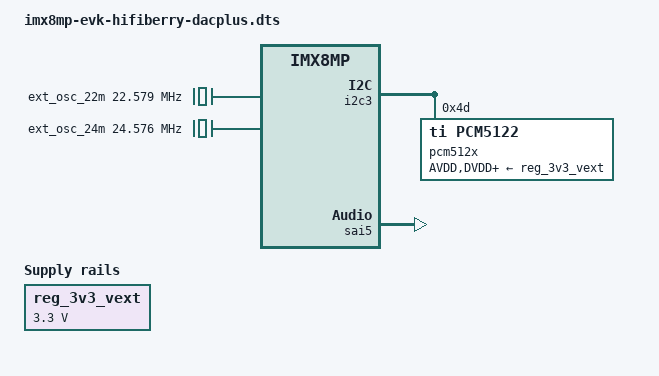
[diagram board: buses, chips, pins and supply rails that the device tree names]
// SPDX-License-Identifier: (GPL-2.0+ OR MIT)
/*
 * Copyright 2020 NXP.
 */

#include "imx8mp-evk.dts"

/ {
	ext_osc_22m: ext-osc-22m {
		compatible = "fixed-clock";
		#clock-cells = <0>;
		clock-frequency = <22579200>;
		clock-output-names = "sclk0";
	};

	ext_osc_24m: ext-osc-24m {
		compatible = "fixed-clock";
		#clock-cells = <0>;
		clock-frequency = <24576000>;
		clock-output-names = "sclk1";
	};

	reg_3v3_vext: regulator-3v3-vext {
		compatible = "regulator-fixed";
		regulator-name = "3V3_VEXT";
		regulator-min-microvolt = <3300000>;
		regulator-max-microvolt = <3300000>;
	};

	sound-micfil {
		status = "disabled";
	};

	sound-pcm512x {
		compatible = "fsl,imx-audio-pcm512x";
		model = "pcm512x-audio";
		audio-widgets =
			"Line", "Left Line Out Jack",
			"Line", "Right Line Out Jack";
		audio-routing =
			"Left Line Out Jack", "OUTL",
			"Right Line Out Jack", "OUTR";
		dac,24db_digital_gain;
		dac,led_status;
		dac,sclk;

		pri-dai-link {
			link-name = "pcm512x-hifi";
			format = "i2s";
			bitclock-master = <&sndcodec>;
			frame-master = <&sndcodec>;
			cpu {
				sound-dai = <&sai5>;
			};
			sndcodec: codec {
				sound-dai = <&pcm512x>;
			};
		};
	};
};

&i2c3 {
	pcm512x: pcm512x@4d {
		compatible = "ti,pcm5122";
		reg = <0x4d>;
		AVDD-supply = <&reg_3v3_vext>;
		DVDD-supply = <&reg_3v3_vext>;
		CPVDD-supply = <&reg_3v3_vext>;
		clocks = <&ext_osc_22m>, <&ext_osc_24m>;
		clock-names = "sclk0", "sclk1";
		#sound-dai-cells = <0>;
	};
};

&iomuxc {
	pinctrl_sai5: sai5grp {
		fsl,pins = <
			MX8MP_IOMUXC_SAI5_RXD1__AUDIOMIX_SAI5_TX_SYNC	0xd6
			MX8MP_IOMUXC_SAI5_RXD2__AUDIOMIX_SAI5_TX_BCLK	0xd6
			MX8MP_IOMUXC_SAI5_RXD3__AUDIOMIX_SAI5_TX_DATA00	0xd6
			MX8MP_IOMUXC_SAI5_RXD0__AUDIOMIX_SAI5_RX_DATA00	0xd6
		>;
	};
};

&micfil {
	status = "disabled";
};

&sai5 {
	#sound-dai-cells = <0>;
	pinctrl-names = "default";
	pinctrl-0 = <&pinctrl_sai5>;
	assigned-clocks = <&clk IMX8MP_CLK_SAI5>;
	assigned-clock-parents = <&clk IMX8MP_AUDIO_PLL1_OUT>;
	assigned-clock-rates = <24576000>;
	clocks = <&audio_blk_ctrl IMX8MP_CLK_AUDIOMIX_SAI5_IPG>, <&clk IMX8MP_CLK_DUMMY>,
		<&audio_blk_ctrl IMX8MP_CLK_AUDIOMIX_SAI5_MCLK1>, <&clk IMX8MP_CLK_DUMMY>,
		<&clk IMX8MP_CLK_DUMMY>, <&clk IMX8MP_AUDIO_PLL1_OUT>,
		<&clk IMX8MP_AUDIO_PLL2_OUT>;
	clock-names = "bus", "mclk0", "mclk1", "mclk2", "mclk3", "pll8k", "pll11k";
	status = "okay";
};
